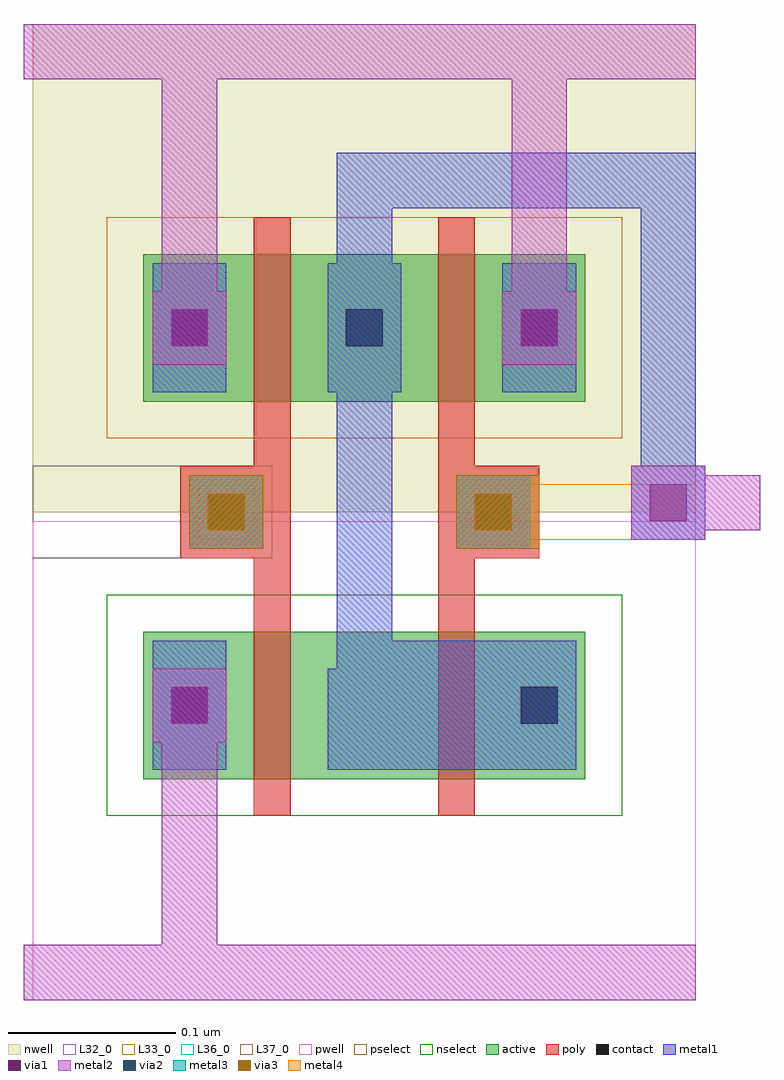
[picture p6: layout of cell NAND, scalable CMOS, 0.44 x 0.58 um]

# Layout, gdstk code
import gdstk
lib = gdstk.Library(unit=1e-6, precision=1e-11)
def R(c, l, rs):  # rectangles x0, y0, x1, y1
    for r in rs: c.add(gdstk.rectangle(r[:2], r[2:], *l))
def A(c, l, x, y, w, h, nx, ny, dx, dy):  # array of equal rectangles
    R(c, l, [(x+i*dx, y+j*dy, x+i*dx+w, y+j*dy+h) for i in range(nx) for j in range(ny)])
contact = (25, 0)
via3 = (30, 0)
metal4 = (31, 0)
L32_0 = (32, 0)
L33_0 = (33, 0)
L36_0 = (36, 0)
L37_0 = (37, 0)
pwell = (41, 0)
nwell = (42, 0)
active = (43, 0)
pselect = (44, 0)
nselect = (45, 0)
poly = (46, 0)
metal1 = (49, 0)
via1 = (50, 0)
metal2 = (51, 0)
via2 = (61, 0)
metal3 = (62, 0)

nand = lib.new_cell('NAND')
A(nand, contact, -1.034, 0.2475, 0.022, 0.022, 3, 1, 0.1045, 0)
R(nand, contact, [(-1.034,0.022,-1.012,0.044), (-0.825,0.022,-0.803,0.044), (-1.012,0.1375,-0.99,0.1595), (-0.8525,0.1375,-0.8305,0.1595)])
R(nand, via3, [(-1.012,0.1375,-0.99,0.1595), (-1.012,0.1375,-0.99,0.1595), (-1.012,0.1375,-0.99,0.1595), (-1.012,0.1375,-0.99,0.1595), (-0.8525,0.1375,-0.8305,0.1595), (-0.8525,0.1375,-0.8305,0.1595)])
R(nand, metal4, [(-1.023,0.1265,-0.979,0.1705), (-1.023,0.1265,-0.979,0.1705), (-1.023,0.1265,-0.979,0.1705), (-1.023,0.1265,-0.979,0.1705), (-1.023,0.1265,-0.979,0.1705), (-1.023,0.1265,-0.979,0.1705), (-1.023,0.1265,-0.979,0.1705), (-1.023,0.1265,-0.979,0.1705), (-1.023,0.1265,-0.979,0.1705), (-0.8635,0.1265,-0.8195,0.1705), (-0.8635,0.1265,-0.8195,0.1705), (-0.8635,0.1265,-0.8195,0.1705), (-0.8635,0.1265,-0.8195,0.1705), (-0.8635,0.1265,-0.814,0.1705), (-1.0175,0.132,-0.9845,0.165), (-1.0175,0.132,-0.9845,0.165), (-1.0175,0.132,-0.9845,0.165), (-0.858,0.132,-0.825,0.165)])
R(nand, L32_0, [(-1.012,0.1375,-0.99,0.1595), (-1.012,0.1375,-0.99,0.1595), (-1.012,0.1375,-0.99,0.1595), (-1.012,0.1375,-0.99,0.1595), (-0.8525,0.1375,-0.8305,0.1595), (-0.8525,0.1375,-0.8305,0.1595)])
R(nand, L33_0, [(-1.0285,0.121,-0.9735,0.176), (-1.0285,0.121,-0.9735,0.176), (-1.023,0.1265,-0.979,0.1705), (-1.023,0.1265,-0.979,0.1705), (-1.023,0.1265,-0.979,0.1705), (-1.023,0.1265,-0.979,0.1705), (-1.023,0.1265,-0.979,0.1705), (-0.8635,0.1265,-0.8195,0.1705), (-0.8635,0.1265,-0.8195,0.1705), (-1.0175,0.132,-0.9845,0.165), (-0.858,0.132,-0.7205,0.165)])
R(nand, L36_0, [(-1.0175,0.132,-0.9845,0.165), (-1.0175,0.132,-0.9845,0.165)])
R(nand, L37_0, [(-1.1165,0.121,-0.9735,0.176), (-1.0285,0.121,-0.9735,0.176), (-1.0285,0.121,-0.9735,0.176)])
R(nand, pwell, [(-1.1165,-0.143,-0.7205,-0.121), (-0.7425,-0.143,-0.7205,-0.11), (-1.1165,-0.132,-0.7205,-0.11), (-1.1165,-0.11,-0.7205,-0.077), (-1.1165,-0.077,-0.9295,0.143), (-1.0835,-0.077,-0.8635,0.143), (-0.9735,-0.077,-0.7535,0.143), (-0.9322,-0.077,-0.9047,0.143), (-0.9075,-0.077,-0.7205,0.143), (-0.9047,-0.077,-0.88,0.143), (-1.1055,-0.0495,-0.9322,0.1155), (-0.9047,-0.0495,-0.7315,0.1155)])
A(nand, nwell, -1.1165, 0.1485, 0.187, 0.22, 3, 1, 0.1045, 0)
R(nand, nwell, [(-1.0835,0.1485,-0.8635,0.3685), (-0.9735,0.1485,-0.7535,0.3685), (-1.1055,0.176,-0.9322,0.341), (-0.9322,0.176,-0.9185,0.341), (-0.9185,0.176,-0.9047,0.341), (-0.9047,0.176,-0.737,0.341), (-1.1165,0.352,-0.7205,0.407), (-1.1165,0.407,-0.7205,0.429), (-0.7425,0.407,-0.7205,0.44), (-1.1165,0.418,-0.7205,0.44)])
A(nand, active, -1.0505, 0.2145, 0.055, 0.088, 3, 1, 0.1045, 0)
R(nand, active, [(-1.0505,-0.011,-0.9955,0.077), (-1.0175,-0.011,-0.9295,0.077), (-0.9322,-0.011,-0.9047,0.077), (-0.9075,-0.011,-0.8195,0.077), (-0.9047,-0.011,-0.88,0.077), (-0.8415,-0.011,-0.7865,0.077), (-1.0395,0.0165,-0.9982,0.0495), (-0.8387,0.0165,-0.7975,0.0495), (-1.0175,0.2145,-0.9295,0.3025), (-0.9075,0.2145,-0.8195,0.3025), (-1.0395,0.242,-0.9982,0.275), (-0.9322,0.242,-0.9185,0.275), (-0.9185,0.242,-0.9047,0.275), (-0.8387,0.242,-0.803,0.275)])
A(nand, pselect, -1.0725, 0.1925, 0.099, 0.132, 3, 1, 0.1045, 0)
R(nand, pselect, [(-1.0395,0.1925,-0.9075,0.3245), (-0.9295,0.1925,-0.7975,0.3245), (-1.0615,0.22,-0.9762,0.297), (-0.9322,0.22,-0.9185,0.297), (-0.9185,0.22,-0.9047,0.297), (-0.8607,0.22,-0.781,0.297)])
R(nand, nselect, [(-1.0725,-0.033,-0.9735,0.099), (-1.0395,-0.033,-0.9075,0.099), (-0.9322,-0.033,-0.9047,0.099), (-0.9295,-0.033,-0.7975,0.099), (-0.9047,-0.033,-0.88,0.099), (-0.8635,-0.033,-0.7645,0.099), (-1.0615,-0.0055,-0.9762,0.0715), (-0.8607,-0.0055,-0.7755,0.0715)])
R(nand, poly, [(-0.9845,-0.033,-0.9625,0.099), (-0.8745,-0.033,-0.8525,0.099), (-0.9845,0.088,-0.9625,0.11), (-0.9845,0.088,-0.9625,0.1595), (-0.8745,0.088,-0.8525,0.154), (-1.0285,0.121,-0.9735,0.176), (-0.869,0.121,-0.814,0.176), (-0.8745,0.132,-0.8525,0.2035), (-0.8745,0.132,-0.8305,0.154), (-1.012,0.1375,-0.9625,0.1595), (-0.9845,0.1375,-0.9625,0.2035), (-0.9845,0.1925,-0.9625,0.3245), (-0.8745,0.1925,-0.8525,0.3245)])
A(nand, metal1, -1.045, 0.22, 0.044, 0.077, 3, 1, 0.1045, 0)
R(nand, metal1, [(-1.045,-0.0055,-1.001,0.0715), (-0.9405,-0.0055,-0.8965,0.055), (-0.9185,-0.0055,-0.814,0.0715), (-0.836,-0.0055,-0.792,0.0715), (-1.045,0.011,-1.001,0.055), (-1.045,0.011,-1.001,0.055), (-0.935,0.033,-0.902,0.2585), (-1.023,0.1265,-0.979,0.1705), (-1.023,0.1265,-0.979,0.1705), (-1.023,0.1265,-0.979,0.1705), (-1.023,0.1265,-0.979,0.1705), (-0.8635,0.1265,-0.8195,0.1705), (-0.8635,0.1265,-0.8195,0.1705), (-0.8635,0.1265,-0.8195,0.1705), (-0.8635,0.1265,-0.8195,0.1705), (-1.0175,0.132,-0.9845,0.165), (-0.858,0.132,-0.825,0.165), (-0.759,0.132,-0.715,0.176), (-0.7535,0.1375,-0.7205,0.363), (-0.7535,0.1375,-0.7205,0.1705), (-1.045,0.2365,-1.001,0.2805), (-1.045,0.2365,-1.001,0.2805), (-0.836,0.2365,-0.792,0.2805), (-0.836,0.2365,-0.792,0.2805), (-0.935,0.242,-0.902,0.363), (-0.935,0.33,-0.7205,0.363)])
R(nand, via1, [(-1.034,0.022,-1.012,0.044), (-1.012,0.1375,-0.99,0.1595), (-1.012,0.1375,-0.99,0.1595), (-0.8525,0.1375,-0.8305,0.1595), (-0.8525,0.1375,-0.8305,0.1595), (-0.748,0.143,-0.726,0.165), (-1.034,0.2475,-1.012,0.2695), (-0.825,0.2475,-0.803,0.2695)])
R(nand, metal2, [(-1.122,-0.143,-1.0065,-0.11), (-1.0395,-0.143,-0.7205,-0.11), (-1.0395,-0.1265,-1.0065,0.033), (-1.045,0.011,-1.001,0.055), (-1.023,0.1265,-0.979,0.1705), (-1.023,0.1265,-0.979,0.1705), (-1.023,0.1265,-0.979,0.1705), (-1.023,0.1265,-0.979,0.1705), (-1.023,0.1265,-0.979,0.1705), (-1.023,0.1265,-0.979,0.1705), (-0.8635,0.1265,-0.8195,0.1705), (-0.8635,0.1265,-0.8195,0.1705), (-0.8635,0.1265,-0.8195,0.1705), (-0.8635,0.1265,-0.8195,0.1705), (-0.8635,0.1265,-0.8195,0.1705), (-1.0175,0.132,-0.9845,0.165), (-1.0175,0.132,-0.9845,0.165), (-0.858,0.132,-0.825,0.165), (-0.759,0.132,-0.715,0.176), (-0.7535,0.1375,-0.682,0.1705), (-1.045,0.2365,-1.001,0.2805), (-0.836,0.2365,-0.792,0.2805), (-1.0395,0.2585,-1.0065,0.4235), (-0.8305,0.2585,-0.7975,0.4235), (-1.122,0.407,-1.0065,0.44), (-1.0395,0.407,-0.7975,0.44), (-0.8305,0.407,-0.7205,0.44)])
R(nand, via2, [(-1.012,0.1375,-0.99,0.1595), (-1.012,0.1375,-0.99,0.1595), (-1.012,0.1375,-0.99,0.1595), (-0.8525,0.1375,-0.8305,0.1595), (-0.8525,0.1375,-0.8305,0.1595)])
R(nand, metal3, [(-1.023,0.1265,-0.979,0.1705), (-1.023,0.1265,-0.979,0.1705), (-1.023,0.1265,-0.979,0.1705), (-1.023,0.1265,-0.979,0.1705), (-1.023,0.1265,-0.979,0.1705), (-1.023,0.1265,-0.979,0.1705), (-1.023,0.1265,-0.979,0.1705), (-1.023,0.1265,-0.979,0.1705), (-0.8635,0.1265,-0.8195,0.1705), (-0.8635,0.1265,-0.8195,0.1705), (-0.8635,0.1265,-0.8195,0.1705), (-0.8635,0.1265,-0.8195,0.1705), (-0.8635,0.1265,-0.8195,0.1705), (-1.0175,0.132,-0.9845,0.165), (-1.0175,0.132,-0.9845,0.165), (-1.0175,0.132,-0.9845,0.165), (-0.858,0.132,-0.825,0.165)])

lib.write_gds('NAND.gds')
